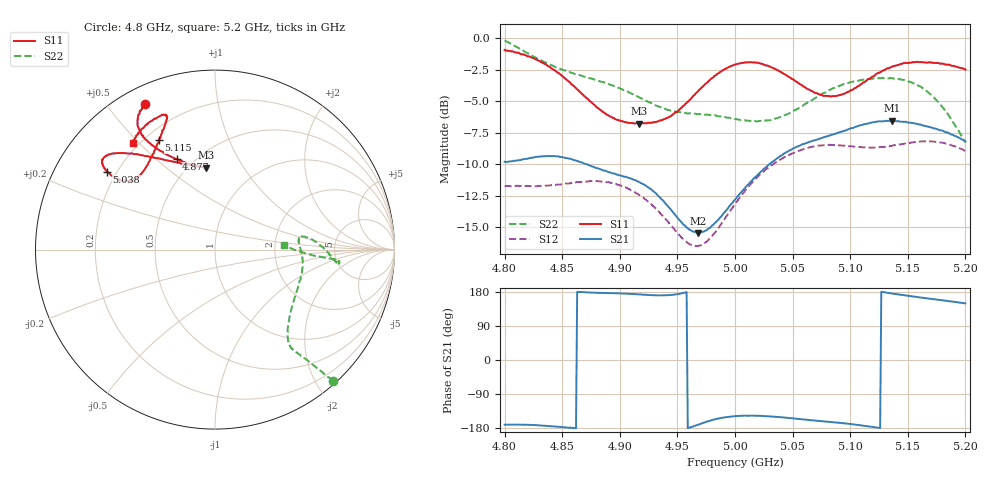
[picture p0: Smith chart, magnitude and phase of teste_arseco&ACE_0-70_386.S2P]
! Network Analyzer HP8722D
! Hewlett-Packard
! Data name: Linha & Wilkinson
! Saver's name: Rodrigo Anjos
! Comments: Teste da utilização de aquisição
! continua pelo VNA HP8722D
! Time and date: 8/5/2025 15:58
!  Frequency  S11  S21  S12  S22
# HZ  S  MA R 50
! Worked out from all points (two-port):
!   401 points, 4.8 GHz to 5.2 GHz, reference 50 ohm
!   highest |S21| = -6.53 dB at 5.136 GHz (marker M1); lowest = -15.5 dB at 4.968 GHz (marker M2)
!   |S21| within 3 dB of the highest: 4.821 GHz to 4.855 GHz (34.32 MHz wide, 0.709 % of centre); 5.037 GHz to end of sweep
!   lowest |S11| = -6.8 dB at 4.917 GHz (marker M3), VSWR 2.69, Z = 30.2 + j34.9 ohm
!   |S11| at or under -10 dB: nowhere
!   |S22| runs from -8.3 to -0.2 dB; largest |S21 - S12| = 0.83
!   S11 on the Smith chart (normalised r, x): 4.8 GHz: 0.07, +0.63; 4.877 GHz: 0.40, +0.58; 5.038 GHz: 0.16, +0.32; 5.115 GHz: 0.25, +0.58; 5.2 GHz: 0.18, +0.48
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4.8e9  0.9002 115.7  0.3235 -170.8  0.259 -86.3  0.9817 -48.0
4.832e9  0.8043 122.0  0.3399 -172.8  0.259 -77.9  0.8164 -50.0
4.846e9  0.7308 122.3  0.3402 -176.0  0.2624 -73.3  0.7645 -50.8
4.867e9  0.6021 117.5  0.3215 179.1  0.2691 -67.9  0.7106 -52.0
4.877e9  0.5485 112.9  0.3085 177.7  0.2708 -67.0  0.689 -52.2
4.898e9  0.4744 101.8  0.2872 176.0  0.262 -67.4  0.6385 -50.5
4.917e9  0.4584 96.1  0.2686 173.1  0.2384 -69.5  0.5824 -45.6
4.934e9  0.4693 100.0  0.235 170.4  0.2048 -70.1  0.5361 -36.8
4.956e9  0.5417 115.4  0.1809 177.5  0.1577 -60.5  0.5048 -22.5
4.968e9  0.6169 123.8  0.1687 -170.6  0.1497 -47.3  0.5009 -15.1
4.98e9  0.6953 130.1  0.1801 -158.4  0.1637 -34.0  0.4957 -9.0
5e9  0.7867 137.3  0.2289 -148.3  0.2201 -21.8  0.4779 -0.3
5.019e9  0.8019 141.7  0.2849 -147.3  0.2795 -19.1  0.4672 5.8
5.038e9  0.7441 144.2  0.3369 -150.6  0.3276 -19.3  0.485 8.4
5.067e9  0.6169 141.8  0.3913 -159.1  0.3713 -21.6  0.5698 3.8
5.088e9  0.5915 132.8  0.4198 -165.1  0.3763 -24.8  0.641 -2.8
5.115e9  0.6855 117.1  0.4589 -174.8  0.3679 -27.7  0.6901 -6.2
5.134e9  0.7626 110.8  0.4699 176.6  0.3725 -29.8  0.6948 -5.7
5.136e9  0.7715 110.5  0.4713 175.6  0.3737 -30.1  0.6945 -5.6
5.16e9  0.8051 112.1  0.4541 165.3  0.3886 -35.9  0.6461 -4.6
5.18e9  0.7928 119.1  0.4301 157.5  0.3851 -42.2  0.5341 -3.0
5.2e9  0.7512 127.4  0.3896 149.4  0.3574 -47.6  0.3856 3.6
